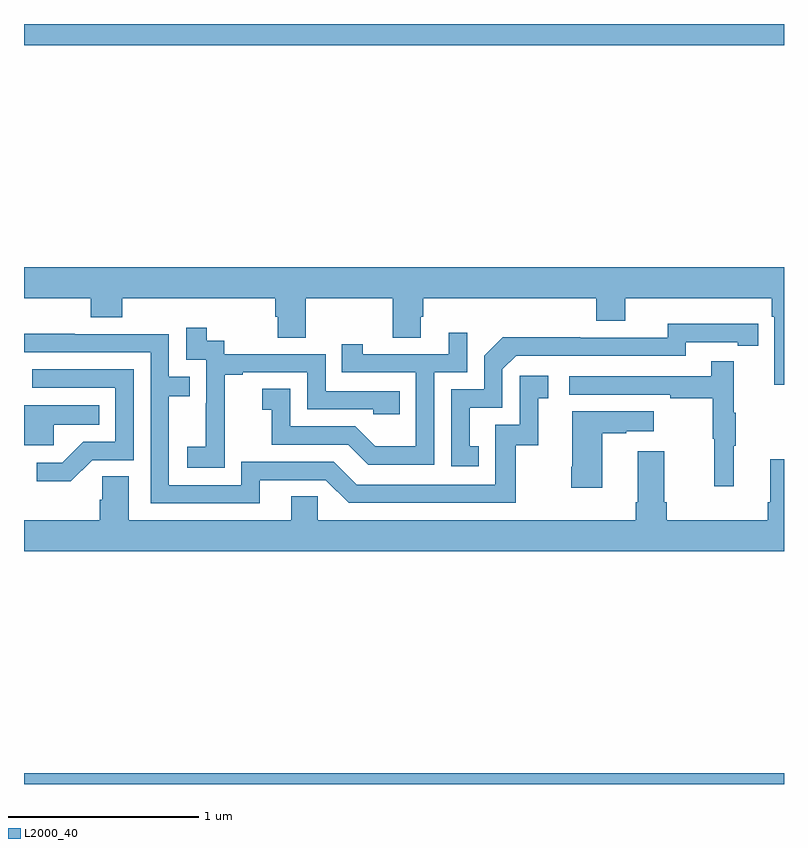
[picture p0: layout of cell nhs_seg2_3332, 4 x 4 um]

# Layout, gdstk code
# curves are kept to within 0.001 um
import gdstk
lib = gdstk.Library(unit=1e-6, precision=1e-09)
def R(c, l, rs):  # rectangles x0, y0, x1, y1
    for r in rs: c.add(gdstk.rectangle(r[:2], r[2:], *l))
def P(c, l, *ps):  # polygons
    for p in ps: c.add(gdstk.Polygon(p, *l))
L2000_40 = (2000, 40)

nhs_seg2_3332 = lib.new_cell('nhs_seg2_3332')
R(nhs_seg2_3332, L2000_40, [(287,591.8,291,591.856), (287,595.688,291,595.8)])
P(nhs_seg2_3332, L2000_40, [(291,594.52),(287,594.52),(287,594.356),(287.351,594.356),(287.351,594.257),(287.516,594.257),(287.516,594.356),(288.323,594.356),(288.323,594.258),(288.335,594.258),(288.335,594.148),(288.483,594.148),(288.483,594.356),(288.94,594.356),(288.94,594.148),(289.087,594.148),(289.087,594.258),(289.1,594.258),(289.1,594.356),(290.012,594.356),(290.012,594.239),(290.164,594.239),(290.164,594.356),(290.936,594.356),(290.936,594.26),(290.949,594.26),(290.949,593.901),(291,593.901)],
  [(289.394,593.577),(289.345,593.577),(289.345,593.781),(289.518,593.781),(289.518,593.982),(289.59,594.054),(290.484,594.054),(290.484,594.126),(290.756,594.126),(290.756,594.106),(290.864,594.106),(290.864,594.222),(290.388,594.223),(290.388,594.15),(289.928,594.15),(289.928,594.152),(289.52,594.152),(289.422,594.054),(289.422,593.877),(289.248,593.877),(289.248,593.472),(289.394,593.472)],
  [(288.057,593.671),(288.056,593.671),(288.056,593.955),(288.151,593.955),(288.151,593.967),(288.492,593.967),(288.492,593.772),(288.837,593.772),(288.837,593.745),(288.977,593.745),(288.977,593.868),(288.588,593.868),(288.588,594.063),(288.054,594.063),(288.054,594.132),(287.962,594.132),(287.962,594.202),(287.853,594.202),(287.853,594.033),(287.958,594.033),(287.958,593.804),(287.957,593.804),(287.957,593.575),(287.859,593.575),(287.859,593.465),(288.057,593.465)],
  [(289.158,593.967),(289.332,593.967),(289.332,594.175),(289.235,594.175),(289.235,594.063),(288.784,594.063),(288.784,594.115),(288.673,594.115),(288.673,593.967),(289.062,593.967),(289.062,593.578),(288.848,593.578),(288.744,593.682),(288.402,593.682),(288.402,593.881),(288.255,593.881),(288.255,593.771),(288.304,593.771),(288.304,593.586),(288.707,593.586),(288.812,593.481),(289.158,593.481)],
  [(288.241,593.4),(288.588,593.4),(288.708,593.28),(289.588,593.28),(289.588,593.583),(289.706,593.583),(289.706,593.829),(289.759,593.829),(289.759,593.95),(289.608,593.95),(289.608,593.691),(289.479,593.691),(289.479,593.376),(288.75,593.376),(288.63,593.496),(288.144,593.496),(288.144,593.373),(287.763,593.373),(287.763,593.842),(287.873,593.842),(287.873,593.943),(287.763,593.943),(287.763,594.168),(287.267,594.168),(287.267,594.17),(287,594.17),(287,594.072),(287.667,594.072),(287.667,593.277),(288.241,593.277)],
  [(290.735,593.579),(290.746,593.579),(290.746,593.753),(290.735,593.753),(290.735,594.025),(290.617,594.025),(290.617,593.946),(289.869,593.946),(289.869,593.85),(290.401,593.85),(290.401,593.83),(290.625,593.83),(290.625,593.616),(290.632,593.616),(290.632,593.367),(290.735,593.367)],
  [(287.358,593.505),(287.577,593.505),(287.577,593.982),(287.043,593.982),(287.043,593.886),(287.481,593.886),(287.481,593.601),(287.312,593.601),(287.201,593.49),(287.067,593.49),(287.067,593.393),(287.245,593.393)],
  [(287.157,593.69),(287.396,593.69),(287.396,593.794),(287,593.794),(287,593.582),(287.157,593.582)],
  [(290.044,593.647),(290.171,593.647),(290.171,593.657),(290.314,593.657),(290.314,593.761),(289.886,593.761),(289.886,593.47),(289.879,593.47),(289.879,593.358),(290.044,593.358)],
  [(291,593.509),(290.927,593.509),(290.927,593.284),(290.915,593.284),(290.915,593.188),(290.384,593.188),(290.384,593.284),(290.371,593.284),(290.371,593.551),(290.231,593.551),(290.231,593.284),(290.219,593.284),(290.219,593.188),(288.546,593.188),(288.546,593.315),(288.407,593.315),(288.407,593.188),(287.551,593.188),(287.551,593.42),(287.412,593.42),(287.412,593.297),(287.399,593.297),(287.399,593.188),(287,593.188),(287,593.024),(291,593.024)])

lib.write_gds('nhs_seg2_3332.gds')
